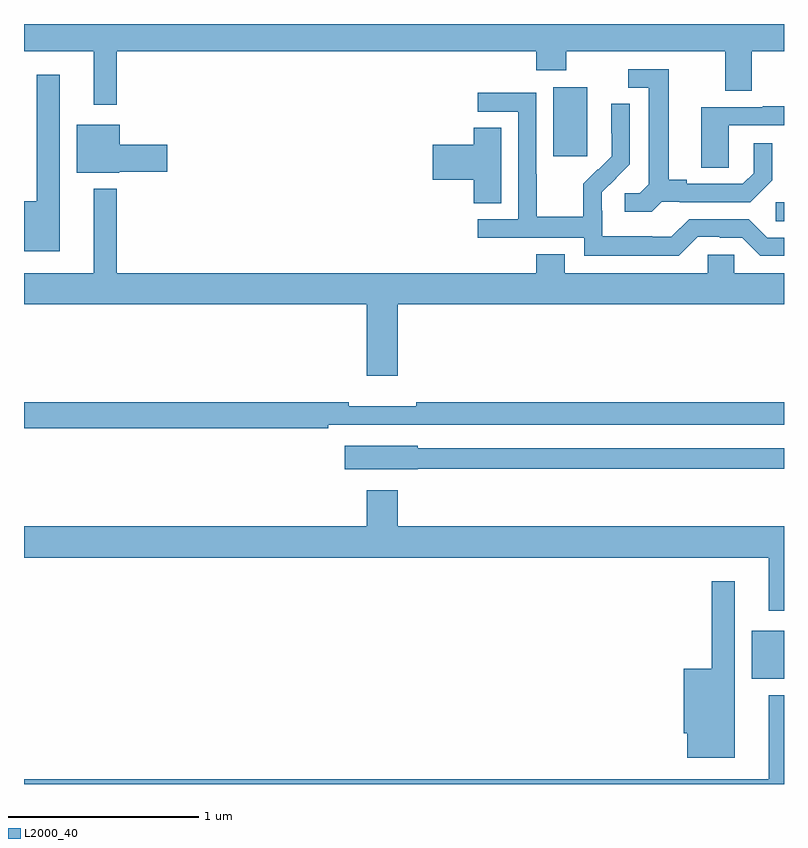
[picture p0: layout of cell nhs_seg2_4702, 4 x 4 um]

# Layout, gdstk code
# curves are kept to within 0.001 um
import gdstk
lib = gdstk.Library(unit=1e-6, precision=1e-09)
def R(c, l, rs):  # rectangles x0, y0, x1, y1
    for r in rs: c.add(gdstk.rectangle(r[:2], r[2:], *l))
def P(c, l, *ps):  # polygons
    for p in ps: c.add(gdstk.Polygon(p, *l))
L2000_40 = (2000, 40)

nhs_seg2_4702 = lib.new_cell('nhs_seg2_4702')
R(nhs_seg2_4702, L2000_40, [(370.829,624.353,371,624.607), (370.956,626.761,371,626.862), (369.785,627.105,369.964,627.466)])
P(nhs_seg2_4702, L2000_40, [(367.489,627.656),(369.695,627.656),(369.695,627.557),(369.855,627.557),(369.855,627.656),(370.691,627.656),(370.691,627.448),(370.831,627.448),(370.831,627.656),(371,627.656),(371,627.8),(367,627.8),(367,627.656),(367.367,627.656),(367.367,627.375),(367.489,627.375)],
  [(370.356,626.865),(370.45,626.865),(370.45,626.862),(370.822,626.862),(370.938,626.978),(370.938,627.172),(370.841,627.172),(370.841,627.015),(370.784,626.958),(370.489,626.958),(370.489,626.981),(370.393,626.981),(370.393,627.561),(370.179,627.561),(370.179,627.465),(370.289,627.465),(370.289,626.957),(370.242,626.91),(370.161,626.91),(370.161,626.813),(370.304,626.813)],
  [(367.189,627.532),(367.068,627.532),(367.068,626.866),(367,626.866),(367,626.603),(367.189,626.603)],
  [(370.545,626.679),(370.661,626.679),(370.661,626.676),(370.779,626.676),(370.875,626.58),(371,626.58),(371,626.676),(370.911,626.676),(370.815,626.772),(370.5,626.772),(370.407,626.679),(370.307,626.679),(370.307,626.683),(370.044,626.683),(370.044,626.817),(370.042,626.817),(370.042,626.914),(370.188,627.062),(370.188,627.38),(370.092,627.38),(370.092,627.226),(370.094,627.226),(370.094,627.104),(370.023,627.033),(370.02,627.036),(369.943,626.959),(369.943,626.785),(369.699,626.785),(369.699,627.008),(369.696,627.008),(369.696,627.438),(369.387,627.438),(369.387,627.339),(369.6,627.339),(369.6,626.772),(369.387,626.772),(369.387,626.676),(369.948,626.676),(369.948,626.579),(370.445,626.579)],
  [(370.71,627.267),(371,627.267),(371,627.367),(370.889,627.367),(370.889,627.363),(370.565,627.363),(370.565,627.043),(370.71,627.043)],
  [(367.5,627.023),(367.753,627.023),(367.753,627.165),(367.504,627.165),(367.504,627.271),(367.277,627.271),(367.277,627.017),(367.5,627.017)],
  [(369.511,627.254),(369.368,627.254),(369.368,627.164),(369.15,627.164),(369.15,626.981),(369.368,626.981),(369.368,626.857),(369.511,626.857)],
  [(368.968,626.324),(371,626.324),(371,626.488),(370.737,626.488),(370.737,626.586),(370.599,626.586),(370.599,626.488),(369.847,626.488),(369.847,626.587),(369.695,626.587),(369.695,626.488),(367.489,626.488),(367.489,626.932),(367.367,626.932),(367.367,626.488),(367,626.488),(367,626.324),(368.804,626.324),(368.804,625.95),(368.968,625.95)],
  [(368.6,625.692),(371,625.692),(371,625.808),(369.064,625.808),(369.064,625.789),(368.708,625.789),(368.708,625.808),(367,625.808),(367,625.672),(368.6,625.672)],
  [(369.072,625.458),(371,625.458),(371,625.566),(369.072,625.566),(369.072,625.579),(368.688,625.579),(368.688,625.457),(369.072,625.457)],
  [(371,625.156),(368.968,625.156),(368.968,625.345),(368.804,625.345),(368.804,625.156),(367,625.156),(367,624.992),(370.919,624.992),(370.919,624.711),(371,624.711)],
  [(370.741,624.868),(370.62,624.868),(370.62,624.406),(370.472,624.406),(370.472,624.066),(370.49,624.066),(370.49,623.939),(370.741,623.939)],
  [(371,624.268),(370.919,624.268),(370.919,623.824),(367,623.824),(367,623.8),(371,623.8)])

lib.write_gds('nhs_seg2_4702.gds')
